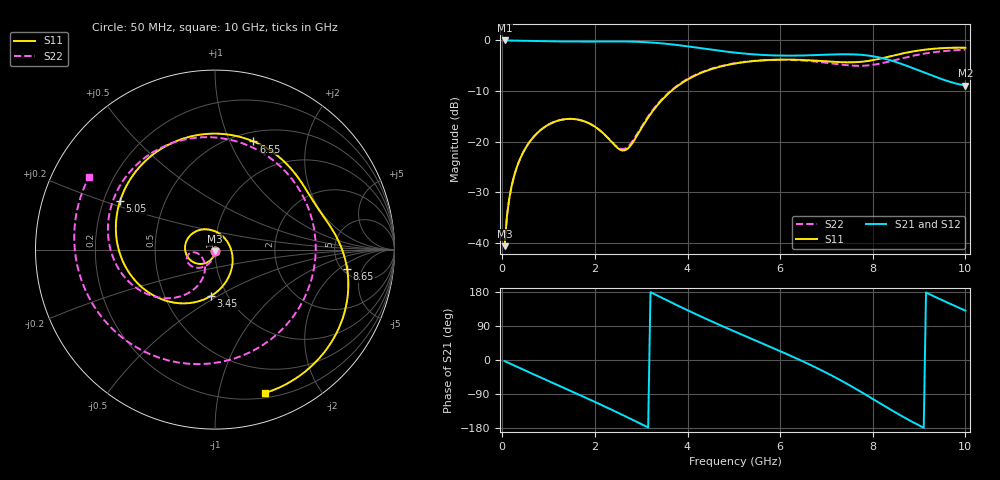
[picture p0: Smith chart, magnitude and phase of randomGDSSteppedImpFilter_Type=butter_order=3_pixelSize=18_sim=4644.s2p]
! freq	dB(S11)	phase(S11)	dB(S12)	phase(S12)
!  dB(S21)	phase(S21)	dB(S22)	phase(S22)
!S-par simulation data
#  GHz  S  DB  R 50
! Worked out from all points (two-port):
!   200 points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, 50 MHz to 10 GHz, reference 50 ohm
!   highest |S21| = 0.00 dB at 50 MHz (marker M1); lowest = -8.9 dB at 10 GHz (marker M2)
!   |S21| within 3 dB of the highest: start of sweep to 6.11 GHz; 6.271 GHz to 7.913 GHz (1.642 GHz wide, 23.2 % of centre)
!   lowest |S11| = -40.7 dB at 50 MHz (marker M3), VSWR 1.02, Z = 50 - j0.923 ohm
!   |S11| at or under -10 dB: start of sweep to 3.648 GHz
!   |S22| runs from -40.7 to -1.8 dB; largest |S21 - S12| = 0
!   S11 on the Smith chart (normalised r, x): 50 MHz: 1.00, -0.02; 3.45 GHz: 0.84, -0.46; 5.05 GHz: 0.27, +0.22; 6.55 GHz: 0.60, +1.23; 8.65 GHz: 5.47, -2.70; 10 GHz: 0.24, -1.38
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0.05  -40.68 -92.5  -0.00 -2.9  -0.00 -2.9  -40.66 -91.7
0.1  -34.76 -95.9  -0.01 -5.7  -0.01 -5.7  -34.75 -94.2
0.2  -28.86 -102.8  -0.02 -11.3  -0.02 -11.3  -28.85 -99.5
0.55  -20.59 -125.9  -0.08 -30.8  -0.08 -30.8  -20.58 -116.5
1.15  -16.02 -165.4  -0.19 -63.8  -0.19 -63.8  -16.01 -143.5
1.75  -15.93 151.4  -0.23 -96.7  -0.23 -96.7  -15.93 -166.0
2.2  -18.55 108.2  -0.21 -122.0  -0.21 -122.0  -18.52 -172.6
2.65  -21.71 24.7  -0.21 -148.1  -0.21 -148.1  -21.41 -141.2
3.4  -12.24 -90.2  -0.54 166.8  -0.54 166.8  -12.07 -117.9
3.45  -11.74 -94.8  -0.58 163.8  -0.58 163.8  -11.57 -119.4
4.2  -6.79 -152.5  -1.42 119.8  -1.42 119.8  -6.68 -149.0
5.05  -4.52 153.0  -2.44 73.4  -2.44 73.4  -4.46 173.3
5.8  -3.85 109.8  -2.94 34.0  -2.94 34.0  -3.85 138.4
6.55  -3.88 70.4  -2.96 -6.9  -2.96 -6.9  -4.01 96.6
6.7  -3.95 63.2  -2.92 -15.6  -2.92 -15.6  -4.13 86.6
7.15  -4.22 43.6  -2.77 -43.3  -2.77 -43.3  -4.59 51.4
7.65  -4.29 26.2  -2.78 -77.3  -2.78 -77.3  -5.01 0.7
8  -3.90 15.4  -3.12 -102.7  -3.12 -102.7  -4.83 -40.5
8.35  -3.19 3.4  -3.85 -128.4  -3.85 -128.4  -4.17 -81.3
8.65  -2.56 -8.5  -4.74 -149.5  -4.74 -149.5  -3.48 -112.5
9.3  -1.66 -37.2  -7.03 169.3  -7.03 169.3  -2.36 -166.5
10  -1.45 -70.7  -8.93 130.3  -8.93 130.3  -1.83 150.2
